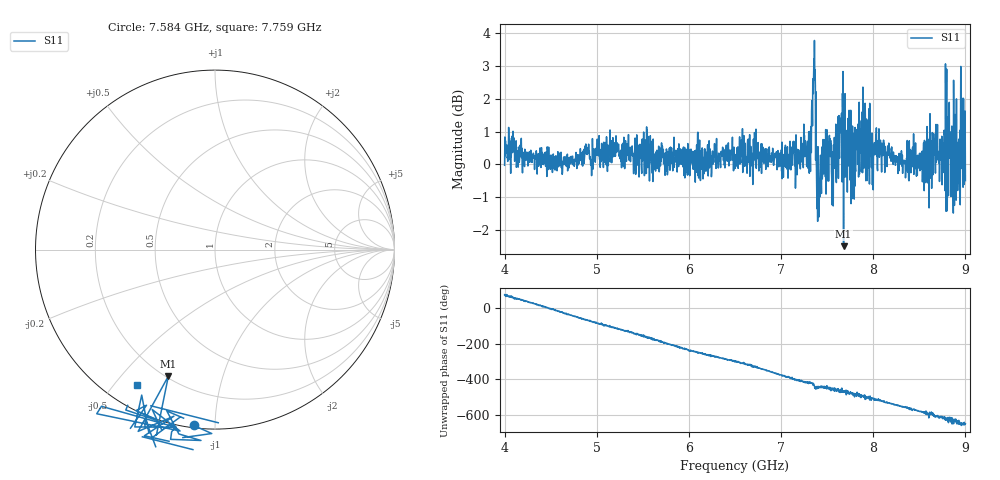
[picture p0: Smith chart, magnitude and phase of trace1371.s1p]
! Created with skrf 1.8.0 (http://scikit-rf.org).
# Hz S RI R 50.0
!freq ReS11 ImS11
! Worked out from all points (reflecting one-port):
!   1601 points, 4 GHz to 9 GHz, reference 50 ohm
!   lowest |S11| = -2.5 dB at 7.678 GHz (marker M1), VSWR 7.01, Z = 10.5 - j33.8 ohm
!   phase of S11 starts at 75 deg and turns -724 deg over the sweep
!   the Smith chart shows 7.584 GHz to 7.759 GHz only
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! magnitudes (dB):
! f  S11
! 4 GHz  0.0
! 4.1 GHz  0.4
! 4.625 GHz  -0.3
! 5.25 GHz  0.2
! 5.875 GHz  0.3
! 6.5 GHz  0.3
! 7.125 GHz  0.5
! 7.294 GHz  -0.1
! 7.353 GHz  2.6
! 7.4 GHz  0.5
! 7.412 GHz  -1.6
! 7.453 GHz  0.0
! 7.522 GHz  0.9
! 7.575 GHz  0.0
! 7.65 GHz  1.3
! 7.678 GHz  -2.5
! 7.75 GHz  0.0
! 7.784 GHz  0.7
! 7.822 GHz  0.5
! 7.903 GHz  1.3
! 8.375 GHz  0.1
! 8.584 GHz  1.2
! 8.675 GHz  -0.3
! 8.738 GHz  0.6
! 8.809 GHz  1.5
! 8.919 GHz  -0.5
! 8.972 GHz  1.0
! 9 GHz  -0.5
